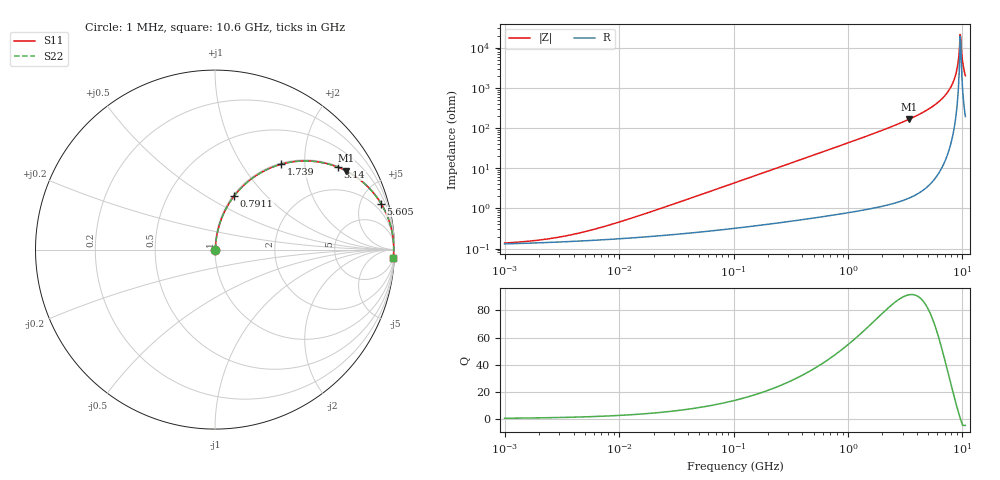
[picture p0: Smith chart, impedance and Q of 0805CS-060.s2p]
# MHz S MA R 50
!Freq  MagS11  AngS11  MagS21  AngS21  MagS12  AngS12  MagS22  AngS22
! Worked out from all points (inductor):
!   801 points, 1 MHz to 10.6 GHz, reference 50 ohm
!   read as one part in series: L = 6.72 nH near 13.25 MHz
!   highest Q = 91.6 at 3.406 GHz (marker M1), where L = 7.69 nH
!   self-resonance near 9.55 GHz
!   S11 on the Smith chart (normalised r, x): 1 MHz: 1.00, +0.00; 791.1 MHz: 1.01, +0.67; 1.739 GHz: 1.02, +1.52; 3.14 GHz: 1.03, +2.97; 5.605 GHz: 1.10, +7.19; 10.6 GHz: 5, -40
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1  0.001372 17.9  0.9987 -0.0  0.9987 -0.0  0.001372 17.9
2.276386  0.001706 34.2  0.9986 -0.1  0.9986 -0.1  0.001706 34.2
4.723226  0.002522 52.0  0.9985 -0.1  0.9985 -0.1  0.002522 52.0
22.05189  0.009519 76.9  0.9979 -0.5  0.9979 -0.5  0.009519 76.9
102.9563  0.04341 83.3  0.9959 -2.5  0.9959 -2.5  0.04341 83.3
486.2859  0.2006 76.8  0.9741 -11.6  0.9741 -11.6  0.2006 76.8
791.0797  0.3168 70.3  0.9419 -18.5  0.9419 -18.5  0.3168 70.3
1186.663  0.4505 62.3  0.8853 -26.8  0.8853 -26.8  0.4505 62.3
1739.287  0.6009 52.3  0.7912 -36.9  0.7912 -36.9  0.6009 52.3
2270.381  0.7083 44.2  0.6974 -45.1  0.6974 -45.1  0.7083 44.2
3140.396  0.8253 33.8  0.5556 -55.6  0.5556 -55.6  0.8253 33.8
3405.696  0.8505 31.1  0.5168 -58.3  0.5168 -58.3  0.8505 31.1
5604.877  0.96 15.5  0.267 -73.7  0.267 -73.7  0.96 15.5
6904.551  0.9832 9.3  0.1624 -79.4  0.1624 -79.4  0.9832 9.3
8026.879  0.9924 5.0  0.0877 -82.5  0.0877 -82.5  0.9924 5.0
8704.987  0.9949 2.7  0.04776 -82.6  0.04776 -82.6  0.9949 2.7
8909.05  0.9953 2.1  0.03641 -81.6  0.03641 -81.6  0.9953 2.1
9224.148  0.9957 1.1  0.01952 -76.7  0.01952 -76.7  0.9957 1.1
9550.391  0.9957 0.1  0.004691 -24.9  0.004691 -24.9  0.9957 0.1
9888.173  0.9955 -0.9  0.01574 72.9  0.01574 72.9  0.9955 -0.9
10237.9  0.9949 -1.8  0.03252 80.1  0.03252 80.1  0.9949 -1.8
10600  0.994 -2.8  0.04952 81.7  0.04952 81.7  0.994 -2.8
